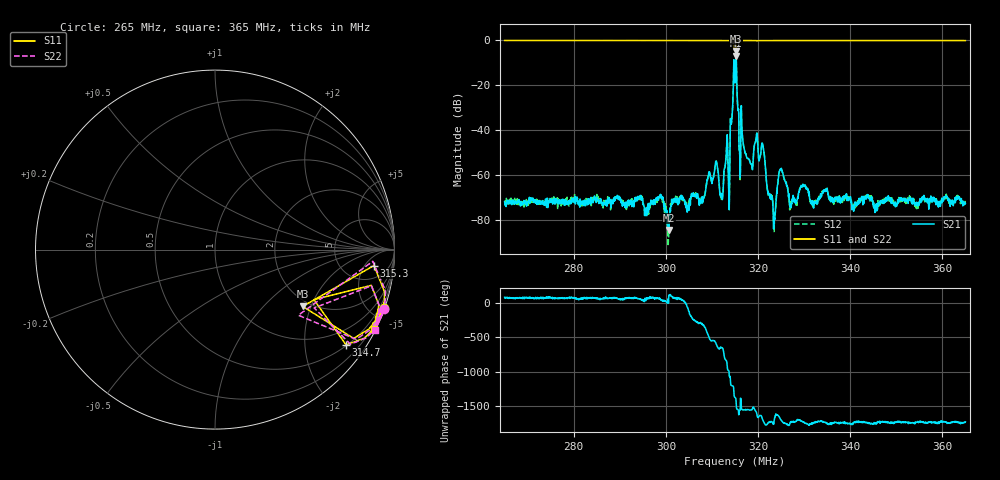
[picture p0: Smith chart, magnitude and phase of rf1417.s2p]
!RF1417D Cal @ device
# HZ S RI R 50
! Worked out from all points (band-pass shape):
!   1601 points, 265 MHz to 365 MHz, reference 50 ohm
!   highest |S21| = -6.74 dB at 315.2 MHz (marker M1); lowest = -84.3 dB at 300.6 MHz (marker M2)
!   |S21| within 3 dB of the highest: 314.7401 MHz to 314.7697 MHz (29.55 kHz wide, 0.00939 % of centre); 315.2203 MHz to 315.2894 MHz (69.15 kHz wide, 0.0219 % of centre)
!   lowest |S11| = -4.7 dB at 315.2 MHz (marker M3), VSWR 3.79, Z = 91.4 - j87.6 ohm
!   |S11| at or under -10 dB: nowhere
!   |S22| runs from -4.6 to 0.0 dB; largest |S21 - S12| = 0.02
!   S11 on the Smith chart (normalised r, x): 265 MHz: 0.09, -5.89; 314.7 MHz: 0.53, -3.00; 315.3 MHz: 10, -8; 365 MHz: 0.11, -4.23
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2.65e8  0.939 -0.3282  3.26e-05 0.000258  9.72e-05 0.000239  0.9418 -0.3312
2.816875e8  0.9298 -0.3476  8.74e-05 0.000208  7.31e-05 0.000243  0.9344 -0.3489
2.98375e8  0.9209 -0.3687  0.000129 0.000291  8.94e-05 0.000271  0.9268 -0.3699
3.00625e8  0.9196 -0.3714  -2.4e-05 5.62e-05  -6.4e-06 4.01e-05  0.9247 -0.3727
3.0775e8  0.9138 -0.3836  0.00018 0.000249  0.000108 0.000309  0.9202 -0.3842
3.108125e8  0.9094 -0.388  -0.00162 0.00123  -0.0016 0.0012  0.9154 -0.3892
3.120625e8  0.9093 -0.3936  0.000118 0.000381  4.26e-05 0.000289  0.9153 -0.3938
3.139375e8  0.8915 -0.418  0.00484 0.00115  0.00519 0.00116  0.8979 -0.4188
3.146875e8  0.73 -0.5303  -0.1333 -0.0936  -0.1423 -0.095  0.7544 -0.5276
3.15e8  0.899 -0.3826  0.0444 0.1059  0.043 0.1063  0.9045 -0.387
3.1525e8  0.4888 -0.3166  0.46 0.0106  0.4685 -0.008  0.4642 -0.3658
3.153125e8  0.8858 -0.0886  0.0531 -0.2608  0.0452 -0.2506  0.879 -0.0653
3.16375e8  0.9119 -0.3325  0.0102 -0.034  0.00563 -0.0345  0.9171 -0.3326
3.18375e8  0.9125 -0.3838  -0.000753 -0.00166  -0.000696 -0.00168  0.919 -0.3847
3.210625e8  0.9092 -0.3831  -0.0004 0.00454  -0.000355 0.00453  0.9166 -0.384
3.233125e8  0.9098 -0.3909  5.37e-05 0.000109  9.1e-05 0.000138  0.9162 -0.3927
3.25e8  0.9089 -0.3938  -0.000202 0.00133  -0.00017 0.00138  0.9153 -0.3953
3.27125e8  0.9074 -0.3966  0.000104 0.000207  0.000118 0.000237  0.9135 -0.3986
3.29875e8  0.9054 -0.4008  0.000228 0.000524  0.000195 0.000581  0.9115 -0.4019
3.316875e8  0.9047 -0.4028  0.000183 0.000141  0.00013 0.000191  0.9109 -0.4043
3.48375e8  0.893 -0.424  0.000171 0.000276  0.000134 0.000262  0.8996 -0.426
3.65e8  0.8834 -0.4426  6.92e-05 0.000227  2.67e-05 0.000246  0.8889 -0.4457
